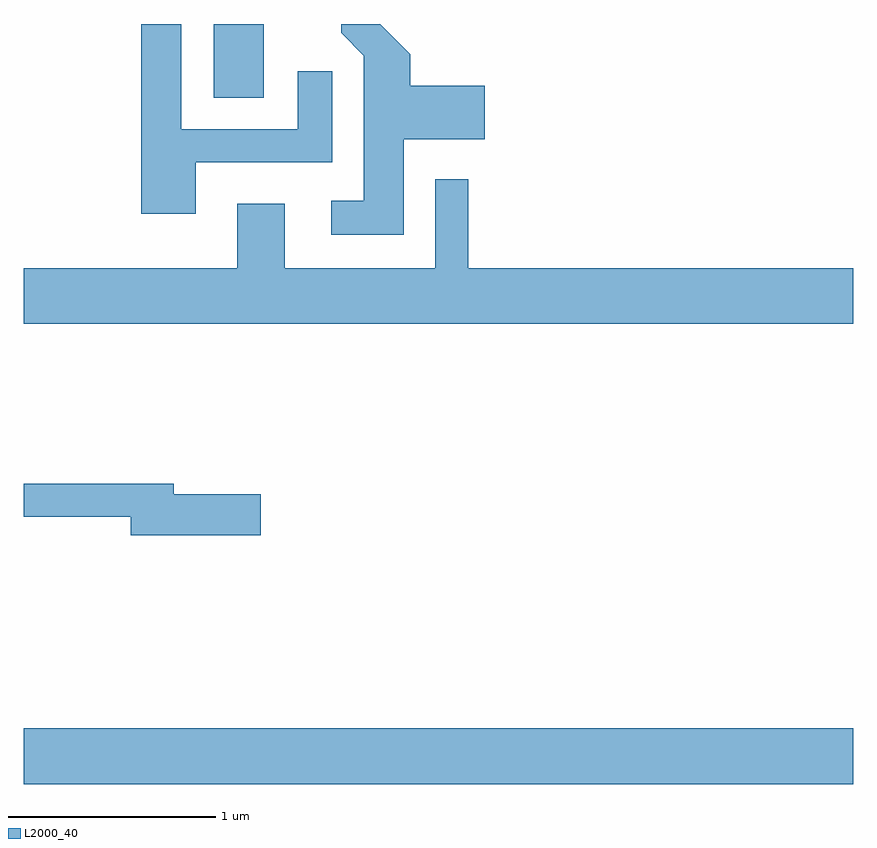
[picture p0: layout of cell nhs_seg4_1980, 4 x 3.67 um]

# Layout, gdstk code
import gdstk
lib = gdstk.Library(unit=1e-6, precision=1e-09)
def R(c, l, rs):  # rectangles x0, y0, x1, y1
    for r in rs: c.add(gdstk.rectangle(r[:2], r[2:], *l))
def P(c, l, *ps):  # polygons
    for p in ps: c.add(gdstk.Polygon(p, *l))
L2000_40 = (2000, 40)

nhs_seg4_1980 = lib.new_cell('nhs_seg4_1980')
R(nhs_seg4_1980, L2000_40, [(243.611,1270.316,247.611,1270.584), (244.526,1273.626,244.769,1273.982)])
P(nhs_seg4_1980, L2000_40, [(244.439,1273.316),(245.099,1273.316),(245.099,1273.753),(244.931,1273.753),(244.931,1273.474),(244.369,1273.474),(244.369,1273.982),(244.176,1273.982),(244.176,1273.066),(244.439,1273.066)],
  [(245.444,1273.426),(245.834,1273.426),(245.834,1273.684),(245.474,1273.684),(245.474,1273.837),(245.329,1273.982),(245.141,1273.982),(245.141,1273.939),(245.251,1273.829),(245.251,1273.129),(245.093,1273.129),(245.093,1272.966),(245.444,1272.966)],
  [(247.611,1272.804),(245.754,1272.804),(245.754,1273.233),(245.596,1273.233),(245.596,1272.804),(244.869,1272.804),(244.869,1273.114),(244.641,1273.114),(244.641,1272.804),(243.611,1272.804),(243.611,1272.536),(247.611,1272.536)],
  [(244.754,1271.714),(244.334,1271.714),(244.334,1271.764),(243.611,1271.764),(243.611,1271.606),(244.126,1271.606),(244.126,1271.516),(244.754,1271.516)])

lib.write_gds('nhs_seg4_1980.gds')
